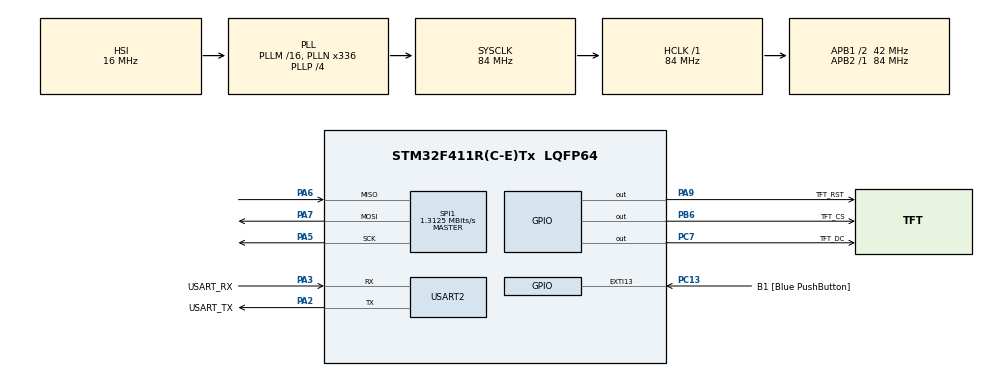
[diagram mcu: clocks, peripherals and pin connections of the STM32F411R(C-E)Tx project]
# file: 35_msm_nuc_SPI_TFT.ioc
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Mcu.Family=STM32F4
PC15-OSC32_OUT.Mode=LSE-External-Oscillator
PA6.Mode=Full_Duplex_Master
RCC.CortexFreq_Value=84000000
PA7.Mode=Full_Duplex_Master
SPI1.VirtualType=VM_MASTER
PC13-ANTI_TAMP.GPIO_Label=B1 [Blue PushButton]
PA9.GPIO_Label=TFT_RST
PA14.GPIO_Label=TCK
PH1\ -\ OSC_OUT.Mode=HSE-External-Clock-Source
PB6.GPIO_Label=TFT_CS
RCC.APB1CLKDivider=RCC_HCLK_DIV2
PC14-OSC32_IN.Signal=RCC_OSC32_IN
RCC.SYSCLKSource=RCC_SYSCLKSOURCE_PLLCLK
ProjectManager.StackSize=0x400
PA13.Signal=SYS_JTMS-SWDIO
PA3.Mode=Asynchronous
PH0\ -\ OSC_IN.Mode=HSE-External-Clock-Source
PH0\ -\ OSC_IN.Signal=RCC_OSC_IN
ProjectManager.TargetToolchain=STM32CubeIDE
SPI1.Direction=SPI_DIRECTION_2LINES
RCC.HCLKFreq_Value=84000000
RCC.APB2TimFreq_Value=84000000
PA9.Signal=GPIO_Output
PB6.Signal=GPIO_Output
PC7.Signal=GPIO_Output
SPI1.CalculateBaudRate=1.3125 MBits/s
PC15-OSC32_OUT.Signal=RCC_OSC32_OUT
RCC.AHBFreq_Value=84000000
PA5.Signal=SPI1_SCK
RCC.HSE_VALUE=8000000
PH1\ -\ OSC_OUT.Signal=RCC_OSC_OUT
board=NUCLEO-F411RE
PC13-ANTI_TAMP.Signal=GPXTI13
RCC.VCOOutputFreq_Value=336000000
RCC.APB2Freq_Value=84000000
PC14-OSC32_IN.Mode=LSE-External-Oscillator
SPI1.Mode=SPI_MODE_MASTER
PA14.Mode=Serial_Wire
PA13.Mode=Serial_Wire
Mcu.Name=STM32F411R(C-E)Tx
PA2.Signal=USART2_TX
PA13.GPIO_Label=TMS
RCC.FLatency-AdvancedSettings=FLASH_LATENCY_2
PC7.GPIO_Label=TFT_DC
RCC.48MHZClocksFreq_Value=84000000
PB3.Signal=SYS_JTDO-SWO
RCC.SYSCLKFreq_VALUE=84000000
Mcu.Package=LQFP64
PA6.Signal=SPI1_MISO
USART2.VirtualMode=VM_ASYNC
PC13-ANTI_TAMP.GPIO_ModeDefaultEXTI=GPIO_MODE_IT_FALLING
PA2.GPIO_Label=USART_TX
PA14.Signal=SYS_JTCK-SWCLK
ProjectManager.HeapSize=0x200
RCC.HSI_VALUE=16000000
RCC.PLLP=RCC_PLLP_DIV4
NVIC.PriorityGroup=NVIC_PRIORITYGROUP_0
RCC.PLLN=336
RCC.APB1TimFreq_Value=84000000
PA2.Mode=Asynchronous
RCC.APB1Freq_Value=42000000
SPI1.BaudRatePrescaler=SPI_BAUDRATEPRESCALER_64
PA3.GPIO_Label=USART_RX
PA3.Signal=USART2_RX
PA5.Mode=Full_Duplex_Master
PA7.Signal=SPI1_MOSI
PB3.GPIO_Label=SWO

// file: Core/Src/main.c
/* USER CODE BEGIN Header */
/**
  ******************************************************************************
  * @file           : main.c
  * @brief          : Main program body
  ******************************************************************************
  * @attention
  *
  * <h2><center>&copy; Copyright (c) 2021 STMicroelectronics.
  * All rights reserved.</center></h2>
  *
  * This software component is licensed by ST under BSD 3-Clause license,
  * the "License"; You may not use this file except in compliance with the
  * License. You may obtain a copy of the License at:
  *                        opensource.org/licenses/BSD-3-Clause
  *
  ******************************************************************************
  */
/* USER CODE END Header */
#include "main.h"
#include "spi.h"
#include "usart.h"
#include "gpio.h"

/* USER CODE BEGIN Includes */
#include "TFT_ILI9341.h"
#include "GFX_Color.h"
#include "fonts/fonts.h"
#include "profilowe.h"
#include "logo.h"

/* USER CODE END Includes */

void SystemClock_Config(void);

int main(void)
{

  /* MCU Configuration--------------------------------------------------------*/

  /* Reset of all peripherals, Initializes the Flash interface and the Systick. */
  HAL_Init();

  /* Configure the system clock */
  SystemClock_Config();

  /* Initialize all configured peripherals */
  MX_GPIO_Init();
  MX_USART2_UART_Init();
  MX_SPI1_Init();
  /* USER CODE BEGIN 2 */
  ILI9341_Init(&hspi1);
  GFX_SetFont(font_8x5);

//  for(uint16_t i = 0; i < ILI9341_TFTWIDTH; i++)
//  {
//	  for(uint16_t j = 0; j < ILI9341_TFTHEIGHT; j++)
//	  {
//		  ILI9341_WritePixel(i, j, ILI9341_BLUE);
//	  }
//  }
  ILI9341_ClearDisplay(ILI9341_BLACK);
//  GFX_DrawRectangle(10, 10, 100, 50, ILI9341_BLUE);
//  GFX_DrawString(10, 200, "GRAD", ILI9341_BLACK);
 //GFX_Image(0, 40, logo, 240, 240);
  ILI9341_DrawImage(0, 40, logo, 240, 240);
  /* USER CODE END 2 */

  /* Infinite loop */
  /* USER CODE BEGIN WHILE */
  while (1)
  {
	  HAL_Delay(2000);
	  ILI9341_ClearDisplay(ILI9341_WHITE);
	  ILI9341_DrawImage(0, 40, profilowe, 240, 240);
	  HAL_Delay(2000);
	  ILI9341_ClearDisplay(ILI9341_BLACK);
	  ILI9341_DrawImage(0, 40, logo, 240, 240);

    /* USER CODE END WHILE */

  }
}

void SystemClock_Config(void)
{
  RCC_OscInitTypeDef RCC_OscInitStruct = {0};
  RCC_ClkInitTypeDef RCC_ClkInitStruct = {0};

  /** Configure the main internal regulator output voltage
  */
  __HAL_RCC_PWR_CLK_ENABLE();
  __HAL_PWR_VOLTAGESCALING_CONFIG(PWR_REGULATOR_VOLTAGE_SCALE1);
  /** Initializes the RCC Oscillators according to the specified parameters
  * in the RCC_OscInitTypeDef structure.
  */
  RCC_OscInitStruct.OscillatorType = RCC_OSCILLATORTYPE_HSI;
  RCC_OscInitStruct.HSIState = RCC_HSI_ON;
  RCC_OscInitStruct.HSICalibrationValue = RCC_HSICALIBRATION_DEFAULT;
  RCC_OscInitStruct.PLL.PLLState = RCC_PLL_ON;
  RCC_OscInitStruct.PLL.PLLSource = RCC_PLLSOURCE_HSI;
  RCC_OscInitStruct.PLL.PLLM = 16;
  RCC_OscInitStruct.PLL.PLLN = 336;
  RCC_OscInitStruct.PLL.PLLP = RCC_PLLP_DIV4;
  RCC_OscInitStruct.PLL.PLLQ = 4;
  if (HAL_RCC_OscConfig(&RCC_OscInitStruct) != HAL_OK)
  {
    Error_Handler();
  }
  /** Initializes the CPU, AHB and APB buses clocks
  */
  RCC_ClkInitStruct.ClockType = RCC_CLOCKTYPE_HCLK|RCC_CLOCKTYPE_SYSCLK
                              |RCC_CLOCKTYPE_PCLK1|RCC_CLOCKTYPE_PCLK2;
  RCC_ClkInitStruct.SYSCLKSource = RCC_SYSCLKSOURCE_PLLCLK;
  RCC_ClkInitStruct.AHBCLKDivider = RCC_SYSCLK_DIV1;
  RCC_ClkInitStruct.APB1CLKDivider = RCC_HCLK_DIV2;
  RCC_ClkInitStruct.APB2CLKDivider = RCC_HCLK_DIV1;

  if (HAL_RCC_ClockConfig(&RCC_ClkInitStruct, FLASH_LATENCY_2) != HAL_OK)
  {
    Error_Handler();
  }
}

void Error_Handler(void)
{
  __disable_irq();
  while (1)
  {
  }
}

/************************ (C) COPYRIGHT STMicroelectronics *****END OF FILE****/
